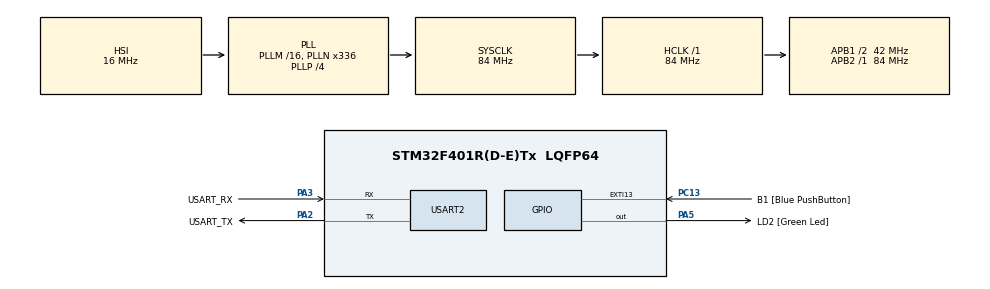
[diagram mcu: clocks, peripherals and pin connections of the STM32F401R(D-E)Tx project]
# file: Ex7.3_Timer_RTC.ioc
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Mcu.Family=STM32F4
Mcu.Name=STM32F401R(D-E)Tx
Mcu.Package=LQFP64
NVIC.PriorityGroup=NVIC_PRIORITYGROUP_4
PA13.GPIO_Label=TMS
PA13.Mode=Trace_Asynchronous_SW
PA13.Signal=SYS_JTMS-SWDIO
PA14.GPIO_Label=TCK
PA14.Mode=Trace_Asynchronous_SW
PA14.Signal=SYS_JTCK-SWCLK
PA2.GPIO_Label=USART_TX
PA2.GPIO_Mode=GPIO_MODE_AF_PP
PA2.GPIO_PuPd=GPIO_NOPULL
PA2.GPIO_Speed=GPIO_SPEED_FREQ_LOW
PA2.Mode=Asynchronous
PA2.Signal=USART2_TX
PA3.GPIO_Label=USART_RX
PA3.GPIO_Mode=GPIO_MODE_AF_PP
PA3.GPIO_PuPd=GPIO_NOPULL
PA3.GPIO_Speed=GPIO_SPEED_FREQ_LOW
PA3.Mode=Asynchronous
PA3.Signal=USART2_RX
PA5.GPIO_Label=LD2 [Green Led]
PA5.GPIO_Mode=GPIO_MODE_OUTPUT_PP
PA5.GPIO_PuPd=GPIO_NOPULL
PA5.GPIO_Speed=GPIO_SPEED_FREQ_LOW
PA5.Signal=GPIO_Output
PB3.GPIO_Label=SWO
PB3.Mode=Trace_Asynchronous_SW
PB3.Signal=SYS_JTDO-SWO
PC13-ANTI_TAMP.GPIO_Label=B1 [Blue PushButton]
PC13-ANTI_TAMP.GPIO_ModeDefaultEXTI=GPIO_MODE_IT_FALLING
PC13-ANTI_TAMP.GPIO_PuPd=GPIO_NOPULL
PC13-ANTI_TAMP.Signal=GPXTI13
PC14-OSC32_IN.Mode=LSE-External-Oscillator
PC14-OSC32_IN.Signal=RCC_OSC32_IN
PC15-OSC32_OUT.Mode=LSE-External-Oscillator
PC15-OSC32_OUT.Signal=RCC_OSC32_OUT
PH0\ -\ OSC_IN.Mode=HSE-External-Clock-Source
PH0\ -\ OSC_IN.Signal=RCC_OSC_IN
PH1\ -\ OSC_OUT.Mode=HSE-External-Clock-Source
PH1\ -\ OSC_OUT.Signal=RCC_OSC_OUT
ProjectManager.HeapSize=0x200
ProjectManager.StackSize=0x400
ProjectManager.TargetToolchain=STM32CubeIDE
RCC.48MHZClocksFreq_Value=48000000
RCC.AHBFreq_Value=84000000
RCC.APB1CLKDivider=RCC_HCLK_DIV2
RCC.APB1Freq_Value=42000000
RCC.APB1TimFreq_Value=84000000
RCC.APB2Freq_Value=84000000
RCC.APB2TimFreq_Value=84000000
RCC.CortexFreq_Value=84000000
RCC.HCLKFreq_Value=84000000
RCC.HSE_VALUE=8000000
RCC.HSI_VALUE=16000000
RCC.PLLN=336
RCC.PLLP=RCC_PLLP_DIV4
RCC.PLLQ=7
RCC.SYSCLKFreq_VALUE=84000000
RCC.SYSCLKSource=RCC_SYSCLKSOURCE_PLLCLK
RCC.VCOOutputFreq_Value=336000000
RTC.Date=6
RTC.Hours=15
RTC.Minutes=29
RTC.Month=RTC_MONTH_JANUARY
RTC.WeekDay=RTC_WEEKDAY_TUESDAY
RTC.Year=1
USART2.VirtualMode=VM_ASYNC
VP_RTC_VS_RTC_Activate.Mode=RTC_Enabled
VP_RTC_VS_RTC_Calendar.Mode=RTC_Calendar
board=NUCLEO-F401RE

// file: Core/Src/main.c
/* USER CODE BEGIN Header */
/**
  ******************************************************************************
  * @file           : main.c
  * @brief          : Main program body
  ******************************************************************************
  * @attention
  *
  * Copyright (c) 2026 STMicroelectronics.
  * All rights reserved.
  *
  * This software is licensed under terms that can be found in the LICENSE file
  * in the root directory of this software component.
  * If no LICENSE file comes with this software, it is provided AS-IS.
  *
  ******************************************************************************
  */
/* USER CODE END Header */
#include "main.h"
#include <stdio.h>

RTC_HandleTypeDef hrtc;

UART_HandleTypeDef huart2;

void SystemClock_Config(void);
static void MX_GPIO_Init(void);
static void MX_USART2_UART_Init(void);
static void MX_RTC_Init(void);

/* USER CODE BEGIN 0 */
int __io_putchar(int ch)
{
	HAL_UART_Transmit(&huart2, (uint8_t *)&ch, 1, 0xFFFF);
	return ch;
}
/* USER CODE END 0 */

int main(void)
{

  /* MCU Configuration--------------------------------------------------------*/

  /* Reset of all peripherals, Initializes the Flash interface and the Systick. */
  HAL_Init();

  /* Configure the system clock */
  SystemClock_Config();

  /* Initialize all configured peripherals */
  MX_GPIO_Init();
  MX_USART2_UART_Init();
  MX_RTC_Init();
  /* USER CODE BEGIN 2 */
RTC_TimeTypeDef sTime;
RTC_DateTypeDef sDate;

sTime.Hours=1;
sTime.Minutes=0;
sTime.Seconds=0;

sDate.Year=21;
sDate.Month=9;
sDate.WeekDay=2;
sDate.Date=1;
HAL_RTC_SetTime(&hrtc, &sTime, RTC_FORMAT_BIN);
HAL_RTC_SetDate(&hrtc, &sDate, RTC_FORMAT_BIN);
  /* USER CODE END 2 */

  /* Infinite loop */
  /* USER CODE BEGIN WHILE */
  while (1)
  {
	  HAL_RTC_GetTime(&hrtc, &sTime, RTC_FORMAT_BIN);
	  HAL_RTC_GetDate(&hrtc, &sDate, RTC_FORMAT_BIN);
	  printf("date=%d %d %d %d, time=%d %d %d \r\n", sDate.Year, sDate.Month, sDate.WeekDay, sDate.Date, sTime.Hours, sTime.Minutes, sTime.Seconds);
	  HAL_Delay(1000);
    /* USER CODE END WHILE */

  }
}

void SystemClock_Config(void)
{
  RCC_OscInitTypeDef RCC_OscInitStruct = {0};
  RCC_ClkInitTypeDef RCC_ClkInitStruct = {0};

  /** Configure the main internal regulator output voltage
  */
  __HAL_RCC_PWR_CLK_ENABLE();
  __HAL_PWR_VOLTAGESCALING_CONFIG(PWR_REGULATOR_VOLTAGE_SCALE2);

  /** Initializes the RCC Oscillators according to the specified parameters
  * in the RCC_OscInitTypeDef structure.
  */
  RCC_OscInitStruct.OscillatorType = RCC_OSCILLATORTYPE_HSI|RCC_OSCILLATORTYPE_LSI;
  RCC_OscInitStruct.HSIState = RCC_HSI_ON;
  RCC_OscInitStruct.HSICalibrationValue = RCC_HSICALIBRATION_DEFAULT;
  RCC_OscInitStruct.LSIState = RCC_LSI_ON;
  RCC_OscInitStruct.PLL.PLLState = RCC_PLL_ON;
  RCC_OscInitStruct.PLL.PLLSource = RCC_PLLSOURCE_HSI;
  RCC_OscInitStruct.PLL.PLLM = 16;
  RCC_OscInitStruct.PLL.PLLN = 336;
  RCC_OscInitStruct.PLL.PLLP = RCC_PLLP_DIV4;
  RCC_OscInitStruct.PLL.PLLQ = 7;
  if (HAL_RCC_OscConfig(&RCC_OscInitStruct) != HAL_OK)
  {
    Error_Handler();
  }

  /** Initializes the CPU, AHB and APB buses clocks
  */
  RCC_ClkInitStruct.ClockType = RCC_CLOCKTYPE_HCLK|RCC_CLOCKTYPE_SYSCLK
                              |RCC_CLOCKTYPE_PCLK1|RCC_CLOCKTYPE_PCLK2;
  RCC_ClkInitStruct.SYSCLKSource = RCC_SYSCLKSOURCE_PLLCLK;
  RCC_ClkInitStruct.AHBCLKDivider = RCC_SYSCLK_DIV1;
  RCC_ClkInitStruct.APB1CLKDivider = RCC_HCLK_DIV2;
  RCC_ClkInitStruct.APB2CLKDivider = RCC_HCLK_DIV1;

  if (HAL_RCC_ClockConfig(&RCC_ClkInitStruct, FLASH_LATENCY_2) != HAL_OK)
  {
    Error_Handler();
  }
}

static void MX_RTC_Init(void)
{

  RTC_TimeTypeDef sTime = {0};
  RTC_DateTypeDef sDate = {0};

  /** Initialize RTC Only
  */
  hrtc.Instance = RTC;
  hrtc.Init.HourFormat = RTC_HOURFORMAT_24;
  hrtc.Init.AsynchPrediv = 127;
  hrtc.Init.SynchPrediv = 255;
  hrtc.Init.OutPut = RTC_OUTPUT_DISABLE;
  hrtc.Init.OutPutPolarity = RTC_OUTPUT_POLARITY_HIGH;
  hrtc.Init.OutPutType = RTC_OUTPUT_TYPE_OPENDRAIN;
  if (HAL_RTC_Init(&hrtc) != HAL_OK)
  {
    Error_Handler();
  }

  /** Initialize RTC and set the Time and Date
  */
  sTime.Hours = 0x15;
  sTime.Minutes = 0x29;
  sTime.Seconds = 0x0;
  sTime.DayLightSaving = RTC_DAYLIGHTSAVING_NONE;
  sTime.StoreOperation = RTC_STOREOPERATION_RESET;
  if (HAL_RTC_SetTime(&hrtc, &sTime, RTC_FORMAT_BCD) != HAL_OK)
  {
    Error_Handler();
  }
  sDate.WeekDay = RTC_WEEKDAY_TUESDAY;
  sDate.Month = RTC_MONTH_JANUARY;
  sDate.Date = 0x6;
  sDate.Year = 0x1;

  if (HAL_RTC_SetDate(&hrtc, &sDate, RTC_FORMAT_BCD) != HAL_OK)
  {
    Error_Handler();
  }

}

static void MX_USART2_UART_Init(void)
{

  huart2.Instance = USART2;
  huart2.Init.BaudRate = 115200;
  huart2.Init.WordLength = UART_WORDLENGTH_8B;
  huart2.Init.StopBits = UART_STOPBITS_1;
  huart2.Init.Parity = UART_PARITY_NONE;
  huart2.Init.Mode = UART_MODE_TX_RX;
  huart2.Init.HwFlowCtl = UART_HWCONTROL_NONE;
  huart2.Init.OverSampling = UART_OVERSAMPLING_16;
  if (HAL_UART_Init(&huart2) != HAL_OK)
  {
    Error_Handler();
  }

}

static void MX_GPIO_Init(void)
{
  GPIO_InitTypeDef GPIO_InitStruct = {0};

  /* GPIO Ports Clock Enable */
  __HAL_RCC_GPIOC_CLK_ENABLE();
  __HAL_RCC_GPIOH_CLK_ENABLE();
  __HAL_RCC_GPIOA_CLK_ENABLE();
  __HAL_RCC_GPIOB_CLK_ENABLE();

  /*Configure GPIO pin Output Level */
  HAL_GPIO_WritePin(LD2_GPIO_Port, LD2_Pin, GPIO_PIN_RESET);

  /*Configure GPIO pin : B1_Pin */
  GPIO_InitStruct.Pin = B1_Pin;
  GPIO_InitStruct.Mode = GPIO_MODE_IT_FALLING;
  GPIO_InitStruct.Pull = GPIO_NOPULL;
  HAL_GPIO_Init(B1_GPIO_Port, &GPIO_InitStruct);

  /*Configure GPIO pin : LD2_Pin */
  GPIO_InitStruct.Pin = LD2_Pin;
  GPIO_InitStruct.Mode = GPIO_MODE_OUTPUT_PP;
  GPIO_InitStruct.Pull = GPIO_NOPULL;
  GPIO_InitStruct.Speed = GPIO_SPEED_FREQ_LOW;
  HAL_GPIO_Init(LD2_GPIO_Port, &GPIO_InitStruct);

}

void Error_Handler(void)
{
  __disable_irq();
  while (1)
  {
  }
}
